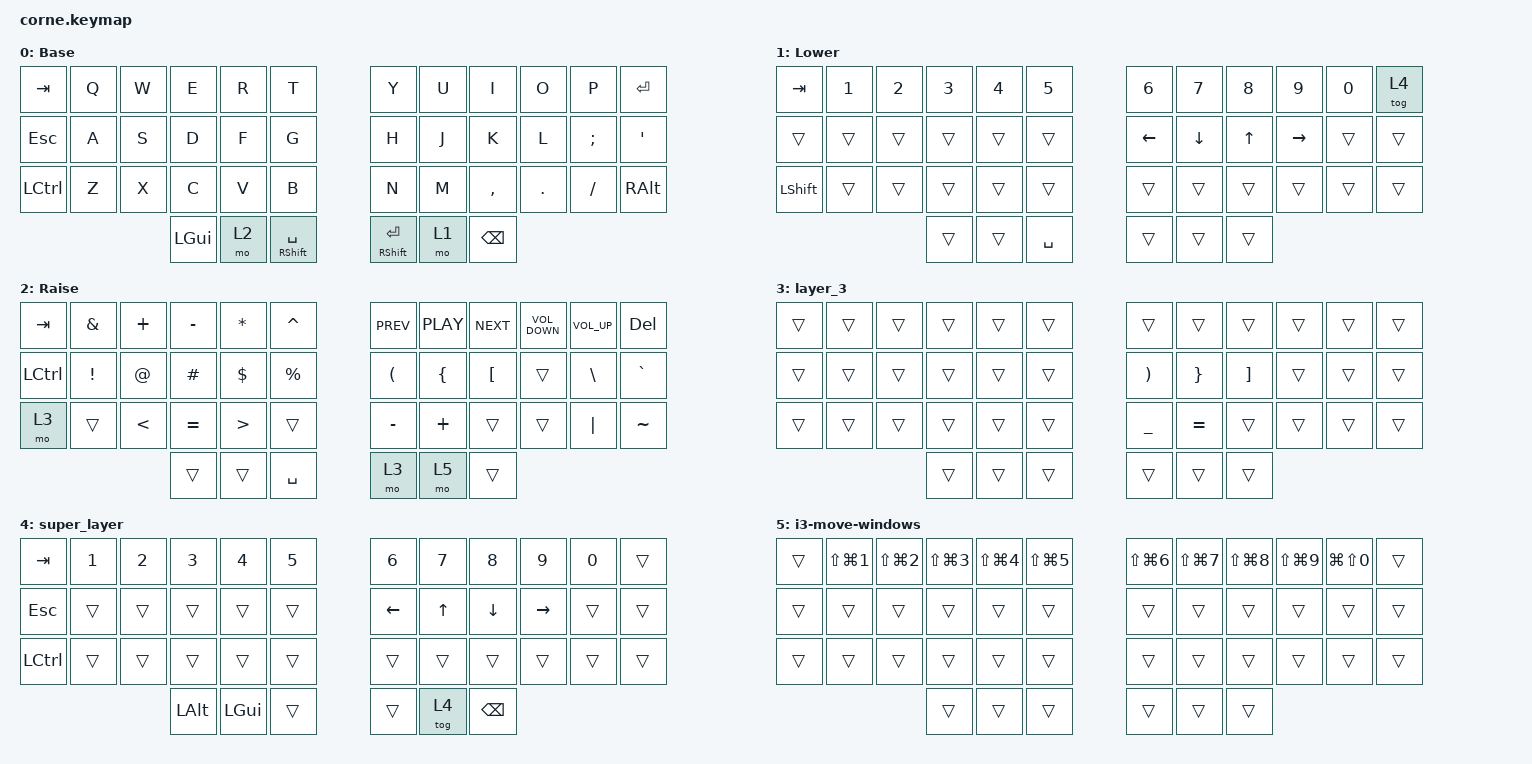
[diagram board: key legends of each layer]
/*
 * Copyright (c) 2020 The ZMK Contributors
 *
 * SPDX-License-Identifier: MIT
 */

#include <behaviors.dtsi>
#include <dt-bindings/zmk/keys.h>

/ {
    keymap {
        compatible = "zmk,keymap";

        default_layer {
            // -----------------------------------------------------------------------------------------
            // |  TAB |  Q  |  W  |  E  |  R  |  T  |   |  Y  |  U   |  I  |  O  |  P  | BKSP |
            // | CTRL |  A  |  S  |  D  |  F  |  G  |   |  H  |  J   |  K  |  L  |  ;  |  '   |
            // | SHFT |  Z  |  X  |  C  |  V  |  B  |   |  N  |  M   |  ,  |  .  |  /  | ESC  |
            //                    | GUI | LWR | SPC |   | ENT | RSE  | ALT |

            display-name = "Base";
            bindings = <
&kp TAB     &kp Q  &kp W  &kp E     &kp R  &kp T               &kp Y                  &kp U  &kp I          &kp O    &kp P     &kp ENTER
&kp ESCAPE  &kp A  &kp S  &kp D     &kp F  &kp G               &kp H                  &kp J  &kp K          &kp L    &kp SEMI  &kp SQT
&kp LCTRL   &kp Z  &kp X  &kp C     &kp V  &kp B               &kp N                  &kp M  &kp COMMA      &kp DOT  &kp FSLH  &kp RIGHT_ALT
                          &kp LGUI  &mo 2  &mt RSHIFT SPACE    &mt RIGHT_SHIFT ENTER  &mo 1  &kp BACKSPACE
            >;
        };

        nav_layer {
            // -----------------------------------------------------------------------------------------
            // |  TAB |  1  |  2  |  3  |  4  |  5  |   |  6  |  7  |  8  |  9  |  0  | BKSP |
            // | BTCLR| BT1 | BT2 | BT3 | BT4 | BT5 |   | LFT | DWN |  UP | RGT |     |      |
            // | SHFT |     |     |     |     |     |   |     |     |     |     |     |      |
            //                    | GUI |     | SPC |   | ENT |     | ALT |

            display-name = "Lower";
            bindings = <
&kp TAB    &kp N1  &kp N2  &kp N3  &kp N4  &kp N5       &kp N6    &kp N7    &kp N8  &kp N9     &kp N0  &tog 4
&trans     &trans  &trans  &trans  &trans  &trans       &kp LEFT  &kp DOWN  &kp UP  &kp RIGHT  &trans  &trans
&kp LSHFT  &trans  &trans  &trans  &trans  &trans       &trans    &trans    &trans  &trans     &trans  &trans
                           &trans  &trans  &kp SPACE    &trans    &trans    &trans
            >;
        };

        symbol_layer {
            // -----------------------------------------------------------------------------------------
            // |  TAB |  !  |  @  |  #  |  $  |  %  |   |  ^  |  &  |  *  |  (  |  )  | BKSP |
            // | CTRL |     |     |     |     |     |   |  -  |  =  |  [  |  ]  |  \  |  `   |
            // | SHFT |     |     |     |     |     |   |  _  |  +  |  {  |  }  | "|" |  ~   |
            //                    | GUI |     | SPC |   | ENT |     | ALT |

            display-name = "Raise";
            bindings = <
&kp TAB    &kp AMPS  &kp PLUS       &kp MINUS  &kp STAR          &kp CARET      &kp C_PREV            &kp C_PLAY      &kp C_NEXT  &kp C_VOLUME_DOWN  &kp C_VOLUME_UP  &kp DELETE
&kp LCTRL  &kp EXCL  &kp AT         &kp HASH   &kp DOLLAR        &kp PERCENT    &kp LEFT_PARENTHESIS  &kp LEFT_BRACE  &kp LBKT    &trans             &kp BSLH         &kp GRAVE
&mo 3      &trans    &kp LESS_THAN  &kp EQUAL  &kp GREATER_THAN  &trans         &kp MINUS             &kp PLUS        &trans      &trans             &kp PIPE         &kp TILDE
                                    &trans     &trans            &kp SPACE      &mo 3                 &mo 5           &trans
            >;
        };

        layer_3 {
            bindings = <
&trans  &trans  &trans  &trans  &trans  &trans    &trans                 &trans           &trans             &trans  &trans  &trans
&trans  &trans  &trans  &trans  &trans  &trans    &kp RIGHT_PARENTHESIS  &kp RIGHT_BRACE  &kp RIGHT_BRACKET  &trans  &trans  &trans
&trans  &trans  &trans  &trans  &trans  &trans    &kp UNDER              &kp EQUAL        &trans             &trans  &trans  &trans
                        &trans  &trans  &trans    &trans                 &trans           &trans
            >;
        };

        super_layer {
            bindings = <
&kp TAB     &kp N1  &kp N2  &kp N3    &kp N4    &kp N5    &kp N6    &kp N7        &kp N8         &kp N9     &kp N0  &trans
&kp ESCAPE  &trans  &trans  &trans    &trans    &trans    &kp LEFT  &kp UP_ARROW  &kp DOWN       &kp RIGHT  &trans  &trans
&kp LCTRL   &trans  &trans  &trans    &trans    &trans    &trans    &trans        &trans         &trans     &trans  &trans
                            &kp LALT  &kp LGUI  &trans    &trans    &tog 4        &kp BACKSPACE
            >;
        };

        i3-move-windows {
            bindings = <
&trans  &kp LS(LG(NUMBER_1))  &kp LS(LG(NUMBER_2))  &kp LS(LG(NUMBER_3))  &kp LS(LG(NUMBER_4))  &kp LS(LG(N5))    &kp LS(LG(NUMBER_6))  &kp LS(LG(N7))  &kp LS(LG(N8))  &kp LS(LG(N9))  &kp LG(LS(N0))  &trans
&trans  &trans                &trans                &trans                &trans                &trans            &trans                &trans          &trans          &trans          &trans          &trans
&trans  &trans                &trans                &trans                &trans                &trans            &trans                &trans          &trans          &trans          &trans          &trans
                                                    &trans                &trans                &trans            &trans                &trans          &trans
            >;
        };
    };
};
